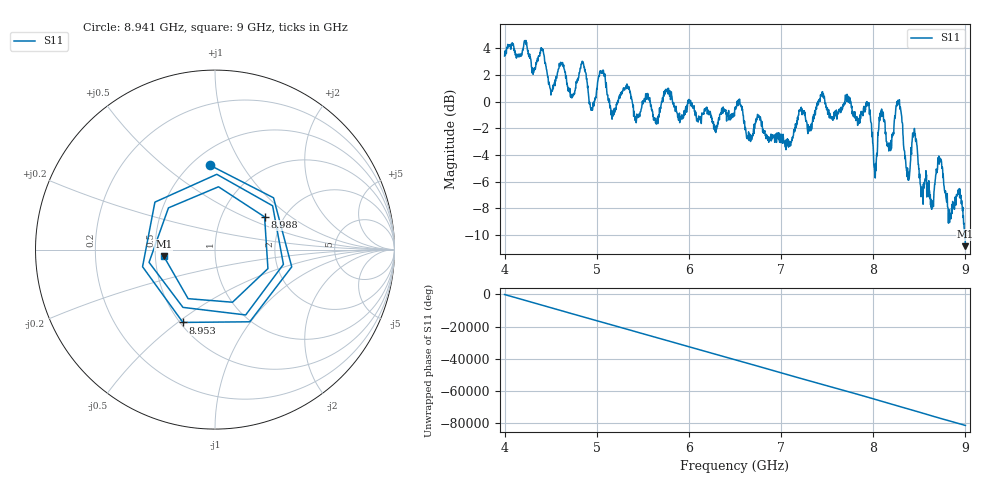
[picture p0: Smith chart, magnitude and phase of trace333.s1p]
! Created with skrf 1.8.0 (http://scikit-rf.org).
# Hz S RI R 50.0
!freq ReS11 ImS11
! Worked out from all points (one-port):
!   1601 points, 4 GHz to 9 GHz, reference 50 ohm
!   lowest |S11| = -10.8 dB at 9 GHz (marker M1), VSWR 1.81, Z = 27.7 - j2.27 ohm
!   |S11| at or under -10 dB: 8.9905 GHz to end of sweep
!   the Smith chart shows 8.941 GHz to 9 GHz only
!   S11 on the Smith chart (normalised r, x): 8.941 GHz: 0.61, +0.74; 8.953 GHz: 0.52, -0.52; 8.988 GHz: 1.60, +0.65; 9 GHz: 0.55, -0.05
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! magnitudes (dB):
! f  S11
! 4 GHz  3.4
! 4.406 GHz  3.9
! 4.509 GHz  0.7
! 4.625 GHz  2.8
! 4.738 GHz  0.4
! 4.853 GHz  2.9
! 4.944 GHz  -0.7
! 5.05 GHz  2.1
! 5.162 GHz  -0.9
! 5.25 GHz  0.3
! 5.875 GHz  -0.9
! 6.5 GHz  -0.6
! 7.125 GHz  -2.8
! 7.75 GHz  0.0
! 7.944 GHz  -0.2
! 8.022 GHz  -5.7
! 8.084 GHz  -0.7
! 8.175 GHz  -3.5
! 8.275 GHz  0.0
! 8.375 GHz  -5.8
! 8.447 GHz  -2.0
! 8.631 GHz  -7.6
! 8.725 GHz  -4.3
! 8.831 GHz  -9.0
! 8.941 GHz  -6.5
! 8.953 GHz  -7.1
! 8.988 GHz  -9.6
! 9 GHz  -10.8
